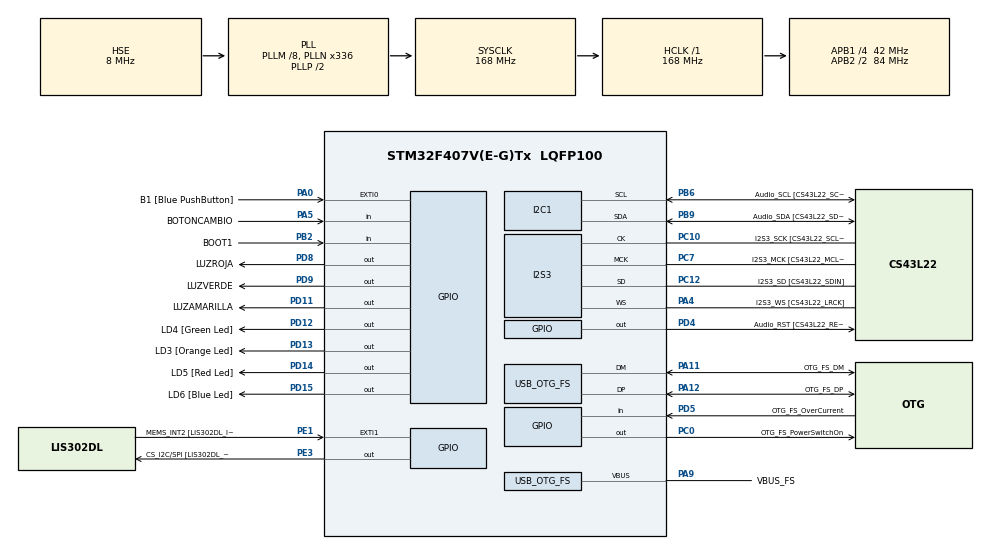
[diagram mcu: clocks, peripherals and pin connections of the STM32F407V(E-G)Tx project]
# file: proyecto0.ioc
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I2S3.AudioFreq-Half_Duplex_Master=I2S_AUDIOFREQ_96K
I2S3.ErrorAudioFreq=-2.34 %
I2S3.ErrorAudioFreq-Half_Duplex_Master=0.8 %
I2S3.FullDuplexMode=I2S_FULLDUPLEXMODE_DISABLE
I2S3.Instance=SPI$Index
I2S3.RealAudioFreq=93.75 KHz
I2S3.RealAudioFreq-Half_Duplex_Master=96.774 KHz
I2S3.VirtualMode=I2S_MODE_MASTER
Mcu.Family=STM32F4
Mcu.Name=STM32F407V(E-G)Tx
Mcu.Package=LQFP100
NVIC.OTG_FS_IRQn=true\:0\:0\:false\:false\:true\:true\:true\:true
NVIC.PriorityGroup=NVIC_PRIORITYGROUP_0
PA0-WKUP.GPIO_Label=B1 [Blue PushButton]
PA0-WKUP.GPIO_ModeDefaultEXTI=GPIO_MODE_EVT_RISING
PA0-WKUP.GPIO_PuPd=GPIO_NOPULL
PA0-WKUP.Signal=GPXTI0
PA10.GPIO_Label=OTG_FS_ID
PA10.GPIO_Mode=GPIO_MODE_AF_PP
PA10.GPIO_PuPd=GPIO_NOPULL
PA10.GPIO_Speed=GPIO_SPEED_FREQ_LOW
PA10.Signal=USB_OTG_FS_ID
PA11.GPIO_Label=OTG_FS_DM
PA11.GPIO_Mode=GPIO_MODE_AF_PP
PA11.GPIO_PuPd=GPIO_NOPULL
PA11.GPIO_Speed=GPIO_SPEED_FREQ_LOW
PA11.Mode=Host_Only
PA11.Signal=USB_OTG_FS_DM
PA12.GPIO_Label=OTG_FS_DP
PA12.GPIO_Mode=GPIO_MODE_AF_PP
PA12.GPIO_PuPd=GPIO_NOPULL
PA12.GPIO_Speed=GPIO_SPEED_FREQ_LOW
PA12.Mode=Host_Only
PA12.Signal=USB_OTG_FS_DP
PA13.GPIO_Label=SWDIO
PA13.Mode=Serial_Wire
PA13.Signal=SYS_JTMS-SWDIO
PA14.GPIO_Label=SWCLK
PA14.Mode=Serial_Wire
PA14.Signal=SYS_JTCK-SWCLK
PA4.GPIO_Label=I2S3_WS [CS43L22_LRCK]
PA4.GPIO_Mode=GPIO_MODE_AF_PP
PA4.GPIO_PuPd=GPIO_NOPULL
PA4.GPIO_Speed=GPIO_SPEED_FREQ_LOW
PA4.Mode=Half_Duplex_Master
PA4.Signal=I2S3_WS
PA5.GPIO_Label=BOTONCAMBIO
PA5.Signal=GPIO_Input
PA6.GPIO_Label=SPI1_MISO [LIS302DL_SDO]
PA6.GPIO_Mode=GPIO_MODE_AF_PP
PA6.GPIO_PuPd=GPIO_NOPULL
PA6.GPIO_Speed=GPIO_SPEED_FREQ_LOW
PA6.Signal=SPI1_MISO
PA7.GPIO_Label=SPI1_MOSI [LIS302DL_SDA/SDI/SDO]
PA7.GPIO_Mode=GPIO_MODE_AF_PP
PA7.GPIO_PuPd=GPIO_NOPULL
PA7.GPIO_Speed=GPIO_SPEED_FREQ_LOW
PA7.Signal=SPI1_MOSI
PA9.GPIO_Label=VBUS_FS
PA9.GPIO_Mode=GPIO_MODE_INPUT
PA9.GPIO_PuPd=GPIO_NOPULL
PA9.Mode=Activate_VBUS
PA9.Signal=USB_OTG_FS_VBUS
PB10.GPIO_Label=CLK_IN [MP45DT02_CLK]
PB10.GPIO_Mode=GPIO_MODE_AF_PP
PB10.GPIO_PuPd=GPIO_NOPULL
PB10.GPIO_Speed=GPIO_SPEED_FREQ_LOW
PB10.Signal=I2S2_CK
PB2.GPIO_Label=BOOT1
PB2.GPIO_Mode=GPIO_MODE_INPUT
PB2.GPIO_PuPd=GPIO_NOPULL
PB2.Signal=GPIO_Input
PB3.GPIO_Label=SWO
PB3.Signal=SYS_JTDO-SWO
PB6.GPIO_Label=Audio_SCL [CS43L22_SCL]
PB6.GPIO_Mode=GPIO_MODE_AF_OD
PB6.GPIO_Pu=GPIO_PULLUP
PB6.GPIO_PuPd=GPIO_NOPULL
PB6.GPIO_Speed=GPIO_SPEED_FREQ_LOW
PB6.Mode=I2C
PB6.Signal=I2C1_SCL
PB9.GPIO_Label=Audio_SDA [CS43L22_SDA]
PB9.GPIO_Mode=GPIO_MODE_AF_OD
PB9.GPIO_Pu=GPIO_PULLUP
PB9.GPIO_PuPd=GPIO_NOPULL
PB9.GPIO_Speed=GPIO_SPEED_FREQ_LOW
PB9.Mode=I2C
PB9.Signal=I2C1_SDA
PC0.GPIO_Label=OTG_FS_PowerSwitchOn
PC0.GPIO_PuPd=GPIO_NOPULL
PC0.GPIO_Speed=GPIO_SPEED_FREQ_LOW
PC0.PinState=GPIO_PIN_SET
PC0.Signal=GPIO_Output
PC10.GPIO_Label=I2S3_SCK [CS43L22_SCLK]
PC10.GPIO_Mode=GPIO_MODE_AF_PP
PC10.GPIO_PuPd=GPIO_NOPULL
PC10.GPIO_Speed=GPIO_SPEED_FREQ_LOW
PC10.Mode=Half_Duplex_Master
PC10.Signal=I2S3_CK
PC12.GPIO_Label=I2S3_SD [CS43L22_SDIN]
PC12.GPIO_Mode=GPIO_MODE_AF_PP
PC12.GPIO_PuPd=GPIO_NOPULL
PC12.GPIO_Speed=GPIO_SPEED_FREQ_LOW
PC12.Mode=Half_Duplex_Master
PC12.Signal=I2S3_SD
PC14-OSC32_IN.GPIO_Label=PC14-OSC32_IN
PC14-OSC32_IN.Mode=LSE-External-Oscillator
PC14-OSC32_IN.Signal=RCC_OSC32_IN
PC15-OSC32_OUT.GPIO_Label=PC15-OSC32_OUT
PC15-OSC32_OUT.Mode=LSE-External-Oscillator
PC15-OSC32_OUT.Signal=RCC_OSC32_OUT
PC3.GPIO_Label=PDM_OUT [MP45DT02_DOUT]
PC3.GPIO_Mode=GPIO_MODE_AF_PP
PC3.GPIO_PuPd=GPIO_NOPULL
PC3.GPIO_Speed=GPIO_SPEED_FREQ_LOW
PC3.Signal=I2S2_SD
PC7.GPIO_Label=I2S3_MCK [CS43L22_MCLK]
PC7.GPIO_Mode=GPIO_MODE_AF_PP
PC7.GPIO_PuPd=GPIO_NOPULL
PC7.GPIO_Speed=GPIO_SPEED_FREQ_LOW
PC7.Mode=Master_Clock_Activated
PC7.Signal=I2S3_MCK
PD11.GPIO_Label=LUZAMARILLA
PD11.Signal=GPIO_Output
PD12.GPIO_Label=LD4 [Green Led]
PD12.GPIO_PuPd=GPIO_NOPULL
PD12.GPIO_Speed=GPIO_SPEED_FREQ_LOW
PD12.Signal=GPIO_Output
PD13.GPIO_Label=LD3 [Orange Led]
PD13.GPIO_PuPd=GPIO_NOPULL
PD13.GPIO_Speed=GPIO_SPEED_FREQ_LOW
PD13.Signal=GPIO_Output
PD14.GPIO_Label=LD5 [Red Led]
PD14.GPIO_PuPd=GPIO_NOPULL
PD14.GPIO_Speed=GPIO_SPEED_FREQ_LOW
PD14.Signal=GPIO_Output
PD15.GPIO_Label=LD6 [Blue Led]
PD15.GPIO_PuPd=GPIO_NOPULL
PD15.GPIO_Speed=GPIO_SPEED_FREQ_LOW
PD15.Signal=GPIO_Output
PD4.GPIO_Label=Audio_RST [CS43L22_RESET]
PD4.GPIO_PuPd=GPIO_NOPULL
PD4.GPIO_Speed=GPIO_SPEED_FREQ_LOW
PD4.Signal=GPIO_Output
PD5.GPIO_Label=OTG_FS_OverCurrent
PD5.GPIO_Mode=GPIO_MODE_INPUT
PD5.GPIO_PuPd=GPIO_NOPULL
PD5.Signal=GPIO_Input
PD8.GPIO_Label=LUZROJA
PD8.Signal=GPIO_Output
PD9.GPIO_Label=LUZVERDE
PD9.Signal=GPIO_Output
PE1.GPIO_Label=MEMS_INT2 [LIS302DL_INT2]
PE1.GPIO_ModeDefaultEXTI=GPIO_MODE_EVT_RISING
PE1.GPIO_PuPd=GPIO_NOPULL
PE1.Signal=GPXTI1
PE3.GPIO_Label=CS_I2C/SPI [LIS302DL_CS_I2C/SPI]
PE3.GPIO_PuPd=GPIO_NOPULL
PE3.GPIO_Speed=GPIO_SPEED_FREQ_LOW
PE3.Signal=GPIO_Output
PH0-OSC_IN.GPIO_Label=PH0-OSC_IN
PH0-OSC_IN.Mode=HSE-External-Oscillator
PH0-OSC_IN.Signal=RCC_OSC_IN
PH1-OSC_OUT.GPIO_Label=PH1-OSC_OUT
PH1-OSC_OUT.Mode=HSE-External-Oscillator
PH1-OSC_OUT.Signal=RCC_OSC_OUT
ProjectManager.HeapSize=0x200
ProjectManager.StackSize=0x400
ProjectManager.TargetToolchain=STM32CubeIDE
RCC.48MHZClocksFreq_Value=48000000
RCC.AHBFreq_Value=168000000
RCC.APB1CLKDivider=RCC_HCLK_DIV4
RCC.APB1Freq_Value=42000000
RCC.APB1TimFreq_Value=84000000
RCC.APB2CLKDivider=RCC_HCLK_DIV2
RCC.APB2Freq_Value=84000000
RCC.APB2TimFreq_Value=168000000
RCC.CortexFreq_Value=168000000
RCC.HCLKFreq_Value=168000000
RCC.HSE_VALUE=8000000
RCC.HSI_VALUE=16000000
RCC.PLLM=8
RCC.PLLN=336
RCC.PLLQ=7
RCC.SYSCLKFreq_VALUE=168000000
RCC.SYSCLKSource=RCC_SYSCLKSOURCE_PLLCLK
RCC.VCOOutputFreq_Value=336000000
USB_HOST.BSP.number=1
USB_HOST.USBH_HandleTypeDef-CDC_FS=hUsbHostFS
USB_HOST.VirtualModeFS=Cdc
USB_HOST0.BSP.STBoard=false
USB_HOST0.BSP.api=Unknown
USB_HOST0.BSP.instance=PC0
USB_HOST0.BSP.ip=GPIO
USB_HOST0.BSP.mode=Output
USB_HOST0.BSP.name=Drive_VBUS_FS
USB_HOST0.BSP.solution=PC0
USB_OTG_FS.VirtualMode=Host_Only
USB_OTG_FS.phy_itface=HCD_PHY_EMBEDDED
VP_USB_HOST_VS_USB_HOST_CDC_FS.Mode=CDC_FS
board=STM32F407G-DISC1

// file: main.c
/* USER CODE BEGIN Header */
/**
  ******************************************************************************
  * @file           : main.c
  * @brief          : Main program body
  ******************************************************************************
  * @attention
  *
  * Copyright (c) 2025 STMicroelectronics.
  * All rights reserved.
  *
  * This software is licensed under terms that can be found in the LICENSE file
  * in the root directory of this software component.
  * If no LICENSE file comes with this software, it is provided AS-IS.
  *
  ******************************************************************************
  */
/* USER CODE END Header */
#include "main.h"
#include "usb_host.h"

/* USER CODE BEGIN Includes */
#include <stdbool.h> // variable booleanas
/* USER CODE END Includes */

/* USER CODE BEGIN PD */
#define TESPERA 2000 // periodo de espera en ms entre las transiciones
#define TREBOTES 20 // intervalo de rebotes en ms
#define TSONDEO 200 // retardo de sondeo en ms
/* USER CODE END PD */

I2C_HandleTypeDef hi2c1;

I2S_HandleTypeDef hi2s3;

void SystemClock_Config(void);
static void MX_GPIO_Init(void);
static void MX_I2C1_Init(void);
static void MX_I2S3_Init(void);
void MX_USB_HOST_Process(void);

/* USER CODE BEGIN PFP */
void CambiarRojoVerde(void); // Transición de rojo a verde
void CambiarVerdeRojo(void); // Transición de verde a rojo
bool VerificarPedido(void); // Determinar si el botón fue pulsado
/* USER CODE END PFP */

int main(void)
{

  /* MCU Configuration--------------------------------------------------------*/

  /* Reset of all peripherals, Initializes the Flash interface and the Systick. */
  HAL_Init();

  /* Configure the system clock */
  SystemClock_Config();

  /* Initialize all configured peripherals */
  MX_GPIO_Init();
  MX_I2C1_Init();
  MX_I2S3_Init();
  MX_USB_HOST_Init();
  /* USER CODE BEGIN 2 */
  HAL_GPIO_WritePin(LUZAMARILLA_GPIO_Port, LUZAMARILLA_Pin, GPIO_PIN_RESET);
  HAL_GPIO_WritePin(LUZVERDE_GPIO_Port, LUZVERDE_Pin, GPIO_PIN_RESET);
  HAL_GPIO_WritePin(LUZROJA_GPIO_Port, LUZROJA_Pin, GPIO_PIN_SET);
  /* USER CODE END 2 */

  /* Infinite loop */
  while (1)
  {
    MX_USB_HOST_Process();

    /* USER CODE BEGIN 3 */
    while(!VerificarPedido()) // Comprobamos si hay una solicitud haciendo una  lectura filtrada del botón
    HAL_Delay(TSONDEO); // Si no la hay, esperamos por un tiempo y volvemos a   comprobar
    // Al recibir la solicitud, cambiamos de estado de ROJO a VERDE
    CambiarRojoVerde();
    // Esperamos por una solicitud de cambio de estado.
    while(!VerificarPedido()) // Comprobamos si hay una solicitud haciendo una lectura filtrada del botón
    HAL_Delay(TSONDEO); // Si no la hay, esperamos por un tiempo y volvemos a comprobar
    // Al recibir la solicitud, cambiamos de estado de VERDE a ROJO
    CambiarVerdeRojo();
  }

  /* USER CODE END 3 */
}

void SystemClock_Config(void)
{
  RCC_OscInitTypeDef RCC_OscInitStruct = {0};
  RCC_ClkInitTypeDef RCC_ClkInitStruct = {0};

  /** Configure the main internal regulator output voltage
  */
  __HAL_RCC_PWR_CLK_ENABLE();
  __HAL_PWR_VOLTAGESCALING_CONFIG(PWR_REGULATOR_VOLTAGE_SCALE1);

  /** Initializes the RCC Oscillators according to the specified parameters
  * in the RCC_OscInitTypeDef structure.
  */
  RCC_OscInitStruct.OscillatorType = RCC_OSCILLATORTYPE_HSE;
  RCC_OscInitStruct.HSEState = RCC_HSE_ON;
  RCC_OscInitStruct.PLL.PLLState = RCC_PLL_ON;
  RCC_OscInitStruct.PLL.PLLSource = RCC_PLLSOURCE_HSE;
  RCC_OscInitStruct.PLL.PLLM = 8;
  RCC_OscInitStruct.PLL.PLLN = 336;
  RCC_OscInitStruct.PLL.PLLP = RCC_PLLP_DIV2;
  RCC_OscInitStruct.PLL.PLLQ = 7;
  if (HAL_RCC_OscConfig(&RCC_OscInitStruct) != HAL_OK)
  {
    Error_Handler();
  }

  /** Initializes the CPU, AHB and APB buses clocks
  */
  RCC_ClkInitStruct.ClockType = RCC_CLOCKTYPE_HCLK|RCC_CLOCKTYPE_SYSCLK
                              |RCC_CLOCKTYPE_PCLK1|RCC_CLOCKTYPE_PCLK2;
  RCC_ClkInitStruct.SYSCLKSource = RCC_SYSCLKSOURCE_PLLCLK;
  RCC_ClkInitStruct.AHBCLKDivider = RCC_SYSCLK_DIV1;
  RCC_ClkInitStruct.APB1CLKDivider = RCC_HCLK_DIV4;
  RCC_ClkInitStruct.APB2CLKDivider = RCC_HCLK_DIV2;

  if (HAL_RCC_ClockConfig(&RCC_ClkInitStruct, FLASH_LATENCY_5) != HAL_OK)
  {
    Error_Handler();
  }
}

static void MX_I2C1_Init(void)
{

  hi2c1.Instance = I2C1;
  hi2c1.Init.ClockSpeed = 100000;
  hi2c1.Init.DutyCycle = I2C_DUTYCYCLE_2;
  hi2c1.Init.OwnAddress1 = 0;
  hi2c1.Init.AddressingMode = I2C_ADDRESSINGMODE_7BIT;
  hi2c1.Init.DualAddressMode = I2C_DUALADDRESS_DISABLE;
  hi2c1.Init.OwnAddress2 = 0;
  hi2c1.Init.GeneralCallMode = I2C_GENERALCALL_DISABLE;
  hi2c1.Init.NoStretchMode = I2C_NOSTRETCH_DISABLE;
  if (HAL_I2C_Init(&hi2c1) != HAL_OK)
  {
    Error_Handler();
  }

}

static void MX_I2S3_Init(void)
{

  hi2s3.Instance = SPI3;
  hi2s3.Init.Mode = I2S_MODE_MASTER_TX;
  hi2s3.Init.Standard = I2S_STANDARD_PHILIPS;
  hi2s3.Init.DataFormat = I2S_DATAFORMAT_16B;
  hi2s3.Init.MCLKOutput = I2S_MCLKOUTPUT_ENABLE;
  hi2s3.Init.AudioFreq = I2S_AUDIOFREQ_96K;
  hi2s3.Init.CPOL = I2S_CPOL_LOW;
  hi2s3.Init.ClockSource = I2S_CLOCK_PLL;
  hi2s3.Init.FullDuplexMode = I2S_FULLDUPLEXMODE_DISABLE;
  if (HAL_I2S_Init(&hi2s3) != HAL_OK)
  {
    Error_Handler();
  }

}

static void MX_GPIO_Init(void)
{
  GPIO_InitTypeDef GPIO_InitStruct = {0};

  /* GPIO Ports Clock Enable */
  __HAL_RCC_GPIOE_CLK_ENABLE();
  __HAL_RCC_GPIOC_CLK_ENABLE();
  __HAL_RCC_GPIOH_CLK_ENABLE();
  __HAL_RCC_GPIOA_CLK_ENABLE();
  __HAL_RCC_GPIOB_CLK_ENABLE();
  __HAL_RCC_GPIOD_CLK_ENABLE();

  /*Configure GPIO pin Output Level */
  HAL_GPIO_WritePin(CS_I2C_SPI_GPIO_Port, CS_I2C_SPI_Pin, GPIO_PIN_RESET);

  /*Configure GPIO pin Output Level */
  HAL_GPIO_WritePin(OTG_FS_PowerSwitchOn_GPIO_Port, OTG_FS_PowerSwitchOn_Pin, GPIO_PIN_SET);

  /*Configure GPIO pin Output Level */
  HAL_GPIO_WritePin(GPIOD, LUZROJA_Pin|LUZVERDE_Pin|LUZAMARILLA_Pin|LD4_Pin
                          |LD3_Pin|LD5_Pin|LD6_Pin|Audio_RST_Pin, GPIO_PIN_RESET);

  /*Configure GPIO pin : CS_I2C_SPI_Pin */
  GPIO_InitStruct.Pin = CS_I2C_SPI_Pin;
  GPIO_InitStruct.Mode = GPIO_MODE_OUTPUT_PP;
  GPIO_InitStruct.Pull = GPIO_NOPULL;
  GPIO_InitStruct.Speed = GPIO_SPEED_FREQ_LOW;
  HAL_GPIO_Init(CS_I2C_SPI_GPIO_Port, &GPIO_InitStruct);

  /*Configure GPIO pin : OTG_FS_PowerSwitchOn_Pin */
  GPIO_InitStruct.Pin = OTG_FS_PowerSwitchOn_Pin;
  GPIO_InitStruct.Mode = GPIO_MODE_OUTPUT_PP;
  GPIO_InitStruct.Pull = GPIO_NOPULL;
  GPIO_InitStruct.Speed = GPIO_SPEED_FREQ_LOW;
  HAL_GPIO_Init(OTG_FS_PowerSwitchOn_GPIO_Port, &GPIO_InitStruct);

  /*Configure GPIO pin : PDM_OUT_Pin */
  GPIO_InitStruct.Pin = PDM_OUT_Pin;
  GPIO_InitStruct.Mode = GPIO_MODE_AF_PP;
  GPIO_InitStruct.Pull = GPIO_NOPULL;
  GPIO_InitStruct.Speed = GPIO_SPEED_FREQ_LOW;
  GPIO_InitStruct.Alternate = GPIO_AF5_SPI2;
  HAL_GPIO_Init(PDM_OUT_GPIO_Port, &GPIO_InitStruct);

  /*Configure GPIO pin : B1_Pin */
  GPIO_InitStruct.Pin = B1_Pin;
  GPIO_InitStruct.Mode = GPIO_MODE_EVT_RISING;
  GPIO_InitStruct.Pull = GPIO_NOPULL;
  HAL_GPIO_Init(B1_GPIO_Port, &GPIO_InitStruct);

  /*Configure GPIO pin : BOTONCAMBIO_Pin */
  GPIO_InitStruct.Pin = BOTONCAMBIO_Pin;
  GPIO_InitStruct.Mode = GPIO_MODE_INPUT;
  GPIO_InitStruct.Pull = GPIO_NOPULL;
  HAL_GPIO_Init(BOTONCAMBIO_GPIO_Port, &GPIO_InitStruct);

  /*Configure GPIO pins : SPI1_MISO_Pin SPI1_MOSI_Pin */
  GPIO_InitStruct.Pin = SPI1_MISO_Pin|SPI1_MOSI_Pin;
  GPIO_InitStruct.Mode = GPIO_MODE_AF_PP;
  GPIO_InitStruct.Pull = GPIO_NOPULL;
  GPIO_InitStruct.Speed = GPIO_SPEED_FREQ_LOW;
  GPIO_InitStruct.Alternate = GPIO_AF5_SPI1;
  HAL_GPIO_Init(GPIOA, &GPIO_InitStruct);

  /*Configure GPIO pin : BOOT1_Pin */
  GPIO_InitStruct.Pin = BOOT1_Pin;
  GPIO_InitStruct.Mode = GPIO_MODE_INPUT;
  GPIO_InitStruct.Pull = GPIO_NOPULL;
  HAL_GPIO_Init(BOOT1_GPIO_Port, &GPIO_InitStruct);

  /*Configure GPIO pin : CLK_IN_Pin */
  GPIO_InitStruct.Pin = CLK_IN_Pin;
  GPIO_InitStruct.Mode = GPIO_MODE_AF_PP;
  GPIO_InitStruct.Pull = GPIO_NOPULL;
  GPIO_InitStruct.Speed = GPIO_SPEED_FREQ_LOW;
  GPIO_InitStruct.Alternate = GPIO_AF5_SPI2;
  HAL_GPIO_Init(CLK_IN_GPIO_Port, &GPIO_InitStruct);

  /*Configure GPIO pins : LUZROJA_Pin LUZVERDE_Pin LUZAMARILLA_Pin LD4_Pin
                           LD3_Pin LD5_Pin LD6_Pin Audio_RST_Pin */
  GPIO_InitStruct.Pin = LUZROJA_Pin|LUZVERDE_Pin|LUZAMARILLA_Pin|LD4_Pin
                          |LD3_Pin|LD5_Pin|LD6_Pin|Audio_RST_Pin;
  GPIO_InitStruct.Mode = GPIO_MODE_OUTPUT_PP;
  GPIO_InitStruct.Pull = GPIO_NOPULL;
  GPIO_InitStruct.Speed = GPIO_SPEED_FREQ_LOW;
  HAL_GPIO_Init(GPIOD, &GPIO_InitStruct);

  /*Configure GPIO pin : OTG_FS_OverCurrent_Pin */
  GPIO_InitStruct.Pin = OTG_FS_OverCurrent_Pin;
  GPIO_InitStruct.Mode = GPIO_MODE_INPUT;
  GPIO_InitStruct.Pull = GPIO_NOPULL;
  HAL_GPIO_Init(OTG_FS_OverCurrent_GPIO_Port, &GPIO_InitStruct);

  /*Configure GPIO pin : MEMS_INT2_Pin */
  GPIO_InitStruct.Pin = MEMS_INT2_Pin;
  GPIO_InitStruct.Mode = GPIO_MODE_EVT_RISING;
  GPIO_InitStruct.Pull = GPIO_NOPULL;
  HAL_GPIO_Init(MEMS_INT2_GPIO_Port, &GPIO_InitStruct);

}

/* USER CODE BEGIN 4 */
void CambiarRojoVerde(void){ // Transición de rojo a verde
//La luz roja se encuentra encendia. Encendemos la amarilla.
HAL_GPIO_WritePin(LUZAMARILLA_GPIO_Port, LUZAMARILLA_Pin, GPIO_PIN_SET);
// Esperamos un timepo
HAL_Delay(TESPERA); // Retardo de TESPERA milisegundos
// Apagamos las luces roja y amarilla, y encendemos la verde
HAL_GPIO_WritePin(LUZROJA_GPIO_Port, LUZROJA_Pin, GPIO_PIN_RESET);
HAL_GPIO_WritePin(LUZAMARILLA_GPIO_Port, LUZAMARILLA_Pin, GPIO_PIN_RESET);
HAL_GPIO_WritePin(LUZVERDE_GPIO_Port, LUZVERDE_Pin, GPIO_PIN_SET);
}
void CambiarVerdeRojo(void){ // Transición de verde a rojo
// La luz verde se encuentra encendida. La apagamos, y encendemos la amarilla
HAL_GPIO_WritePin(LUZVERDE_GPIO_Port, LUZVERDE_Pin, GPIO_PIN_RESET);
HAL_GPIO_WritePin(LUZAMARILLA_GPIO_Port, LUZAMARILLA_Pin, GPIO_PIN_SET);
// Esperamos un tiempo
HAL_Delay(TESPERA); // Retardo de TESPERA milisegundos
// Apagamos la luz amarilla y encendemos la roja
HAL_GPIO_WritePin(LUZAMARILLA_GPIO_Port, LUZAMARILLA_Pin, GPIO_PIN_RESET);
HAL_GPIO_WritePin(LUZROJA_GPIO_Port, LUZROJA_Pin, GPIO_PIN_SET);
}
// Determinar si el botón fue pulsado
bool VerificarPedido(void){
// Se crea e inicializa un registro de lectura válida del botón
static GPIO_PinState ultima_lectura_valida = GPIO_PIN_SET; //botón liberado
// Se crean variables para lecturas intermedias
GPIO_PinState lectura1, lectura2;
// Se crea una variable booleana para indicar si hay un pedido
bool pedido = false; // No hay pedido hasta que se pulsa el botón
// Se lee el estado del botón
lectura1 = HAL_GPIO_ReadPin(BOTONCAMBIO_GPIO_Port, BOTONCAMBIO_Pin);
// Si hubo un cambio
if (lectura1 != ultima_lectura_valida){
// Se espera un tiempo para filtrar los rebotes
HAL_Delay(TREBOTES); // Retardo de TREBOTES milisegundos
// Se lee nuevamente el estado del botón
lectura2 = HAL_GPIO_ReadPin(BOTONCAMBIO_GPIO_Port, BOTONCAMBIO_Pin);
// Si ambas lecturas son iguales, se considera una lectura válida
if(lectura2 == lectura1)
ultima_lectura_valida = lectura2;
// Si el botón pasó de liberado a pulsado (1-->0), hubo un pedido de cambio de estado
if (ultima_lectura_valida == GPIO_PIN_RESET)
pedido = true;
}
return pedido;
}
/* USER CODE END 4 */

void Error_Handler(void)
{
  __disable_irq();
  while (1)
  {
  }
}
